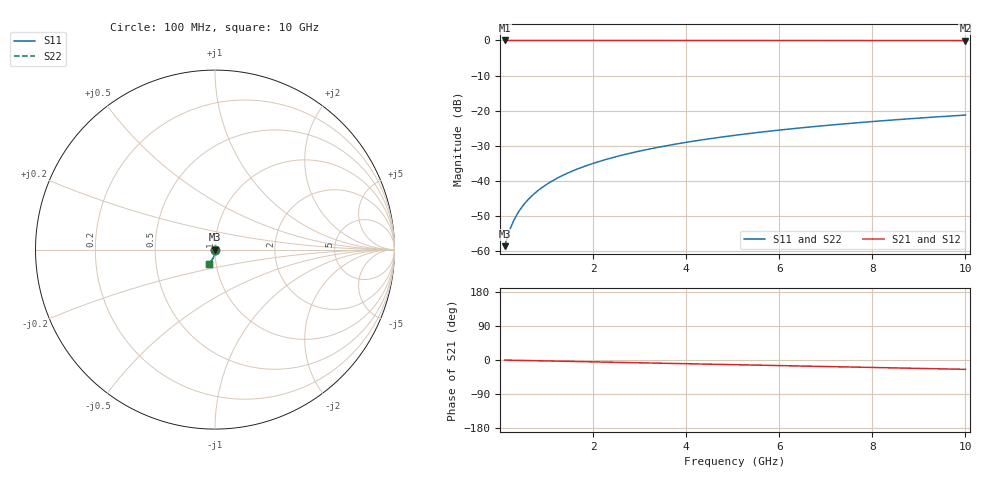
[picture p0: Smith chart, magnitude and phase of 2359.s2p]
# Hz S RI R 50.00
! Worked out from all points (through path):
!   100 points, 100 MHz to 10 GHz, reference 50 ohm
!   highest |S21| = -0.01 dB at 100 MHz (marker M1); lowest = 0.0 dB at 10 GHz (marker M2)
!   group delay of S21, straight-line fit = 6.84 ps
!   lowest |S11| = -58.7 dB at 100 MHz (marker M3), VSWR 1.00, Z = 50.1 - j0.0885 ohm
!   |S11| at or under -10 dB: start of sweep to end of sweep
!   |S22| runs from -58.7 to -21.3 dB; largest |S21 - S12| = 0
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1e8  0.000761 -0.000883  0.9992 -0.00426  0.9992 -0.00426  0.000761 -0.000883
2e8  0.000752 -0.00177  0.9992 -0.00853  0.9992 -0.00853  0.000752 -0.00177
3e8  0.000735 -0.00265  0.9991 -0.0128  0.9991 -0.0128  0.000735 -0.00265
4e8  0.000709 -0.00353  0.9991 -0.0171  0.9991 -0.0171  0.000709 -0.00353
5e8  0.000675 -0.00442  0.999 -0.0213  0.999 -0.0213  0.000675 -0.00442
6e8  0.000634 -0.0053  0.9989 -0.0256  0.9989 -0.0256  0.000634 -0.0053
7e8  0.000585 -0.00618  0.9987 -0.0298  0.9987 -0.0298  0.000585 -0.00618
8e8  0.000528 -0.00707  0.9986 -0.0341  0.9986 -0.0341  0.000528 -0.00707
9e8  0.000463 -0.00795  0.9984 -0.0384  0.9984 -0.0384  0.000463 -0.00795
1.1e9  0.000311 -0.00971  0.998 -0.0469  0.998 -0.0469  0.000311 -0.00971
1.4e9  2.61e-05 -0.0124  0.9973 -0.0597  0.9973 -0.0597  2.61e-05 -0.0124
1.8e9  -0.00046 -0.0159  0.9961 -0.0767  0.9961 -0.0767  -0.00046 -0.0159
2.1e9  -0.000904 -0.0185  0.995 -0.0895  0.995 -0.0895  -0.000904 -0.0185
2.5e9  -0.0016 -0.022  0.9932 -0.1065  0.9932 -0.1065  -0.0016 -0.022
2.9e9  -0.00242 -0.0254  0.9911 -0.1235  0.9911 -0.1235  -0.00242 -0.0254
3.4e9  -0.00361 -0.0297  0.9881 -0.1446  0.9881 -0.1446  -0.00361 -0.0297
4.2e9  -0.00589 -0.0365  0.9823 -0.1784  0.9823 -0.1784  -0.00589 -0.0365
5.1e9  -0.00902 -0.0439  0.9743 -0.2162  0.9743 -0.2162  -0.00902 -0.0439
5.9e9  -0.0123 -0.0503  0.966 -0.2495  0.966 -0.2495  -0.0123 -0.0503
6.7e9  -0.016 -0.0565  0.9564 -0.2825  0.9564 -0.2825  -0.016 -0.0565
8.4e9  -0.0252 -0.0686  0.9322 -0.3515  0.9322 -0.3515  -0.0252 -0.0686
1e10  -0.0354 -0.0786  0.9046 -0.4147  0.9046 -0.4147  -0.0354 -0.0786
